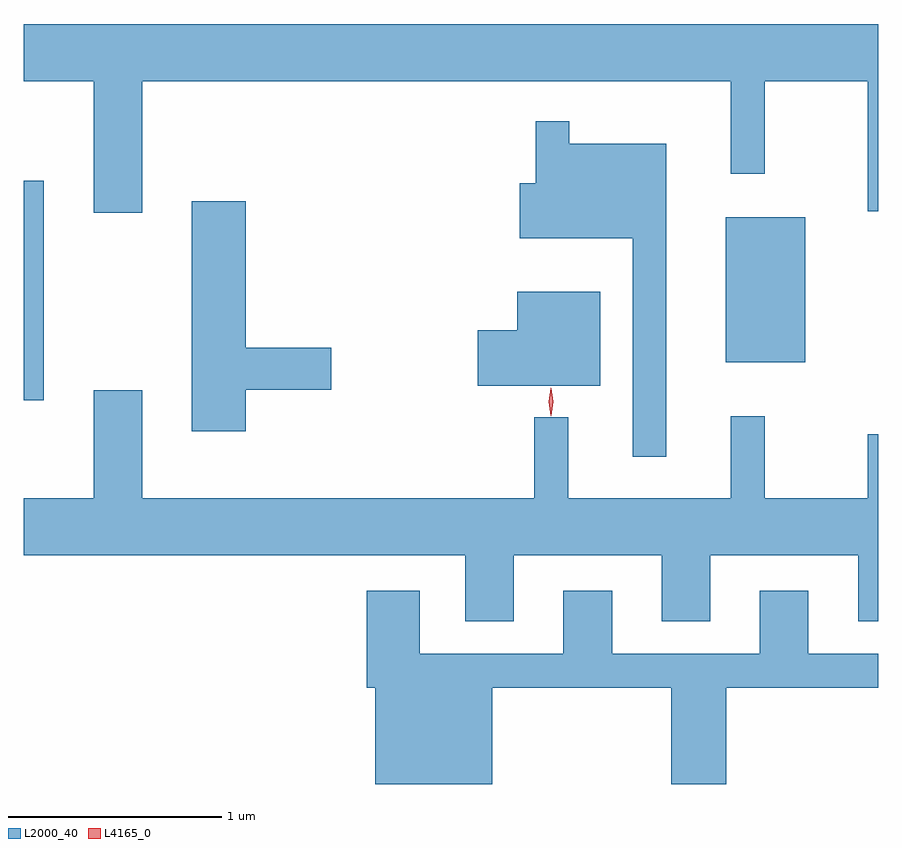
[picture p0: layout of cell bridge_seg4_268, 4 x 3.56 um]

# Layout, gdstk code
import gdstk
lib = gdstk.Library(unit=1e-6, precision=1e-09)
def R(c, l, rs):  # rectangles x0, y0, x1, y1
    for r in rs: c.add(gdstk.rectangle(r[:2], r[2:], *l))
def P(c, l, *ps):  # polygons
    for p in ps: c.add(gdstk.Polygon(p, *l))
L2000_40 = (2000, 40)
L4165_0 = (4165, 0)

bridge_seg4_268 = lib.new_cell('bridge_seg4_268')
R(bridge_seg4_268, L2000_40, [(410.925,1379.821,411.019,1380.849), (414.211,1380.001,414.584,1380.679)])
P(bridge_seg4_268, L2000_40, [(411.479,1381.316),(414.236,1381.316),(414.236,1380.883),(414.394,1380.883),(414.394,1381.316),(414.876,1381.316),(414.876,1380.706),(414.925,1380.706),(414.925,1381.584),(410.925,1381.584),(410.925,1381.316),(411.251,1381.316),(411.251,1380.701),(411.479,1380.701)],
  [(413.934,1381.024),(413.479,1381.024),(413.479,1381.128),(413.321,1381.128),(413.321,1380.839),(413.246,1380.839),(413.246,1380.581),(413.776,1380.581),(413.776,1379.558),(413.934,1379.558)],
  [(411.964,1379.871),(412.364,1379.871),(412.364,1380.069),(411.964,1380.069),(411.964,1380.754),(411.711,1380.754),(411.711,1379.676),(411.964,1379.676)],
  [(413.624,1380.329),(413.236,1380.329),(413.236,1380.149),(413.051,1380.149),(413.051,1379.891),(413.624,1379.891)],
  [(413.219,1379.096),(413.911,1379.096),(413.911,1378.786),(414.139,1378.786),(414.139,1379.096),(414.831,1379.096),(414.831,1378.786),(414.925,1378.786),(414.925,1379.664),(414.876,1379.664),(414.876,1379.364),(414.394,1379.364),(414.394,1379.748),(414.236,1379.748),(414.236,1379.364),(413.474,1379.364),(413.474,1379.743),(413.316,1379.743),(413.316,1379.364),(411.479,1379.364),(411.479,1379.869),(411.251,1379.869),(411.251,1379.364),(410.925,1379.364),(410.925,1379.096),(412.991,1379.096),(412.991,1378.786),(413.219,1378.786)],
  [(413.119,1378.476),(413.956,1378.476),(413.956,1378.025),(414.214,1378.025),(414.214,1378.476),(414.925,1378.476),(414.925,1378.634),(414.599,1378.634),(414.599,1378.929),(414.371,1378.929),(414.371,1378.634),(413.679,1378.634),(413.679,1378.929),(413.451,1378.929),(413.451,1378.634),(412.779,1378.634),(412.779,1378.929),(412.531,1378.929),(412.531,1378.476),(412.571,1378.476),(412.571,1378.025),(413.119,1378.025)])
P(bridge_seg4_268, L4165_0, [(413.393,1379.749),(413.393,1379.749),(413.383,1379.814),(413.393,1379.879),(413.393,1379.88),(413.394,1379.879),(413.403,1379.814),(413.394,1379.749)])

lib.write_gds('bridge_seg4_268.gds')
